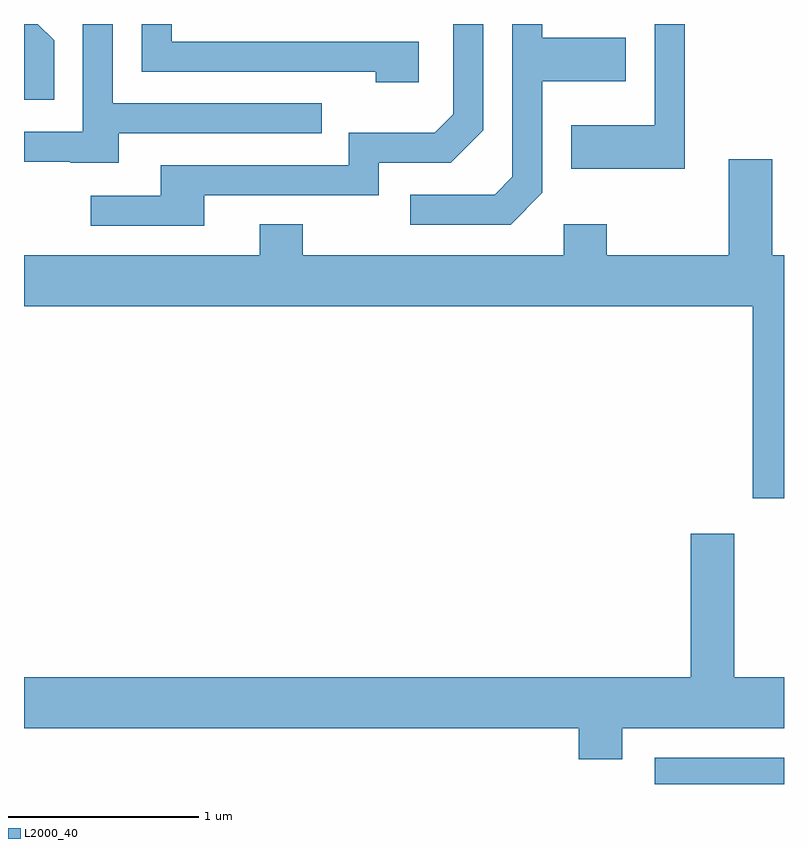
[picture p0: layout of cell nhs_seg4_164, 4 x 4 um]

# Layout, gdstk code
import gdstk
lib = gdstk.Library(unit=1e-6, precision=1e-09)
def R(c, l, rs):  # rectangles x0, y0, x1, y1
    for r in rs: c.add(gdstk.rectangle(r[:2], r[2:], *l))
def P(c, l, *ps):  # polygons
    for p in ps: c.add(gdstk.Polygon(p, *l))
L2000_40 = (2000, 40)

nhs_seg4_164 = lib.new_cell('nhs_seg4_164')
R(nhs_seg4_164, L2000_40, [(192.931,1309.982,193.611,1310.119)])
P(nhs_seg4_164, L2000_40, [(192.339,1313.094),(192.339,1313.681),(192.779,1313.681),(192.779,1313.909),(192.339,1313.909),(192.339,1313.982),(192.181,1313.982),(192.181,1313.177),(192.089,1313.084),(191.643,1313.084),(191.643,1312.926),(192.172,1312.926)],
  [(191.689,1313.889),(190.389,1313.889),(190.389,1313.982),(190.231,1313.982),(190.231,1313.731),(191.461,1313.731),(191.461,1313.676),(191.689,1313.676)],
  [(190.559,1313.081),(191.479,1313.081),(191.479,1313.251),(191.857,1313.251),(192.029,1313.424),(192.029,1313.982),(191.871,1313.982),(191.871,1313.507),(191.774,1313.409),(191.321,1313.409),(191.321,1313.239),(190.331,1313.239),(190.331,1313.079),(189.963,1313.079),(189.963,1312.921),(190.559,1312.921)],
  [(190.109,1313.406),(191.178,1313.406),(191.178,1313.564),(190.079,1313.564),(190.079,1313.982),(189.921,1313.982),(189.921,1313.414),(189.611,1313.414),(189.611,1313.256),(189.855,1313.256),(189.855,1313.251),(190.109,1313.251)],
  [(189.769,1313.897),(189.684,1313.982),(189.611,1313.982),(189.611,1313.583),(189.769,1313.583)],
  [(193.089,1313.982),(192.931,1313.982),(192.931,1313.449),(192.491,1313.449),(192.491,1313.221),(193.089,1313.221)],
  [(193.611,1312.764),(193.549,1312.764),(193.549,1313.269),(193.321,1313.269),(193.321,1312.764),(192.679,1312.764),(192.679,1312.929),(192.451,1312.929),(192.451,1312.764),(191.079,1312.764),(191.079,1312.929),(190.851,1312.929),(190.851,1312.764),(189.611,1312.764),(189.611,1312.496),(193.446,1312.496),(193.446,1311.486),(193.611,1311.486)],
  [(192.759,1310.276),(193.611,1310.276),(193.611,1310.544),(193.349,1310.544),(193.349,1311.299),(193.121,1311.299),(193.121,1310.544),(189.611,1310.544),(189.611,1310.276),(192.531,1310.276),(192.531,1310.111),(192.759,1310.111)])

lib.write_gds('nhs_seg4_164.gds')
